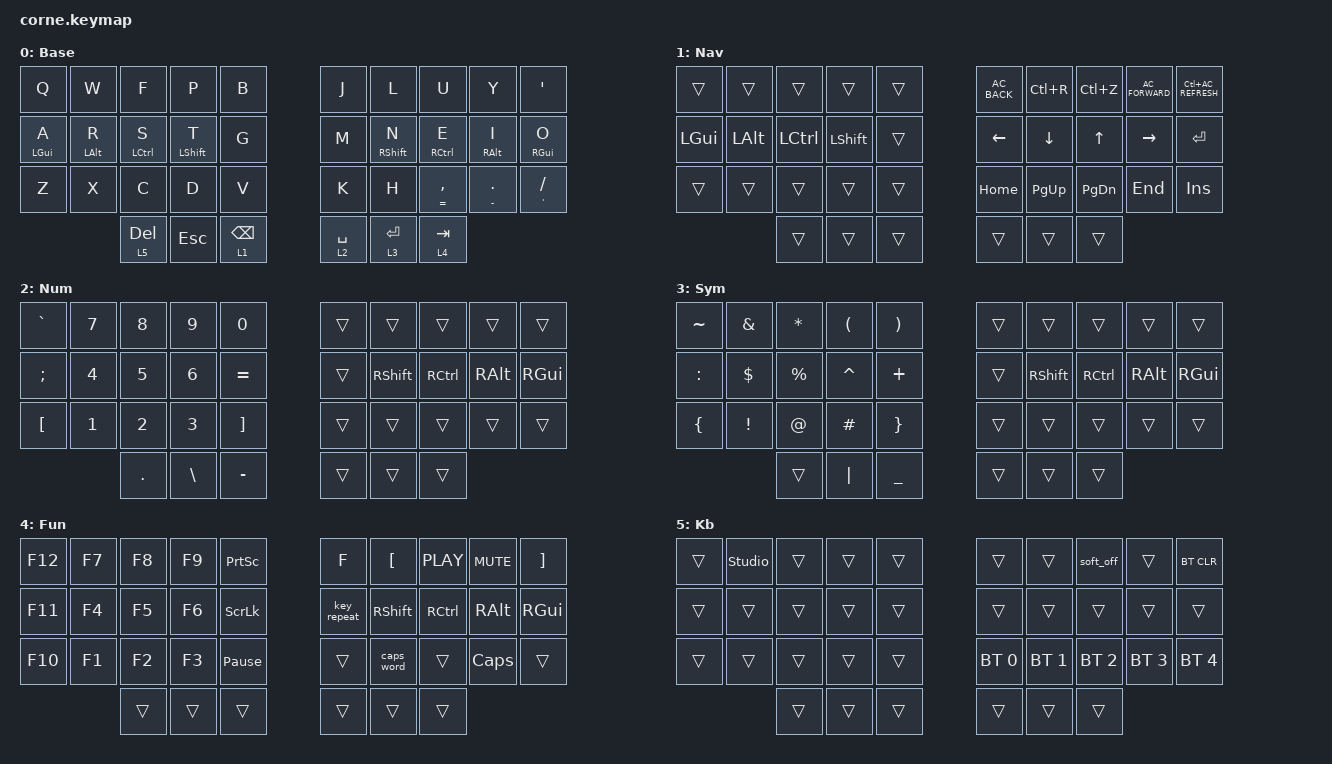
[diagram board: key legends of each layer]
/*
 * Copyright (c) 2020 The ZMK Contributors
 *
 * SPDX-License-Identifier: MIT
 */

#include <behaviors.dtsi>
#include <dt-bindings/zmk/bt.h>
#include <dt-bindings/zmk/keys.h>

//#define AS(keycode) &as LS(keycode) keycode     // Autoshift Macro

/ {
    //chosen { zmk,matrix-transform = &five_column_transform; };

    chosen { zmk,physical-layout = &foostan_corne_5col_layout; };

    behaviors {
        hml: home_row_mod_left {
            compatible = "zmk,behavior-hold-tap";
            #binding-cells = <2>;
            flavor = "tap-preferred";
            require-prior-idle-ms = <40>;
            tapping-term-ms = <180>;
            quick-tap-ms = <100>;
            bindings = <&kp>, <&kp>;

            hold-trigger-key-positions = <5 15 25 33 34 35 26 16 6 7 17 27 28 18 8 9 19 29 32 31>; // List of keys on the right side of the keyboard
            hold-trigger-on-release;
        };

        hmr: home_row_mod_right {
            compatible = "zmk,behavior-hold-tap";
            #binding-cells = <2>;
            flavor = "tap-preferred";
            require-prior-idle-ms = <40>;
            tapping-term-ms = <180>;
            quick-tap-ms = <100>;
            bindings = <&kp>, <&kp>;

            hold-trigger-key-positions = <1 0 10 11 20 21 22 30 32 31 24 23 13 12 2 3 4 14>; // List of keys on the left side of the keyboard
            hold-trigger-on-release;
        };

        hmlf: home_row_mod_left_fast {
            compatible = "zmk,behavior-hold-tap";
            #binding-cells = <2>;
            flavor = "tap-preferred";
            require-prior-idle-ms = <40>;
            tapping-term-ms = <150>;
            quick-tap-ms = <100>;
            bindings = <&kp>, <&kp>;

            hold-trigger-key-positions = <5 15 25 33 34 35 26 16 6 7 17 27 28 18 8 9 19 29 32 31>; // List of keys on the right side of the keyboard
            hold-trigger-on-release;
        };

        hmrf: home_row_mod_right_fast {
            compatible = "zmk,behavior-hold-tap";
            #binding-cells = <2>;
            flavor = "tap-preferred";
            require-prior-idle-ms = <40>;
            tapping-term-ms = <150>;
            quick-tap-ms = <100>;
            bindings = <&kp>, <&kp>;

            hold-trigger-key-positions = <1 0 10 11 20 21 22 30 32 31 24 23 13 12 2 3 4 14>; // List of keys on the left side of the keyboard
            hold-trigger-on-release;
        };

        as: auto_shift {
            compatible = "zmk,behavior-hold-tap";
            #binding-cells = <2>;
            quick_tap_ms = <0>;
            flavor = "tap-preferred";
            bindings = <&kp>, <&kp>;

            tapping-term-ms = <150>;
        };

        lt_slow: lt_slow {
            compatible = "zmk,behavior-hold-tap";
            label = "LT_SLOW";
            bindings = <&mo>, <&kp>;

            #binding-cells = <2>;
            tapping-term-ms = <335>;
            flavor = "tap-preferred";
        };

        mt_slow: mt_slow {
            compatible = "zmk,behavior-hold-tap";
            label = "MT_SLOW";
            bindings = <&kp>, <&kp>;

            #binding-cells = <2>;
            tapping-term-ms = <440>;
            flavor = "tap-preferred";
        };

        hml_lctl: hml_lctl {
            compatible = "zmk,behavior-hold-tap";
            #binding-cells = <2>;
            flavor = "balanced";
            require-prior-idle-ms = <40>;
            tapping-term-ms = <180>;
            quick-tap-ms = <100>;
            bindings = <&kp>, <&kp>;

            hold-trigger-key-positions = <5 15 25 33 34 35 26 16 6 7 17 27 28 18 8 9 19 29 23 1 3 21 32 31>;
            hold-trigger-on-release;
            label = "HML_LCTL";
        };
    };

    combos { compatible = "zmk,combos"; };

    keymap {
        compatible = "zmk,keymap";

        Base {
            bindings = <
  &kp Q            &kp W            &kp F              &kp P               &kp B             &kp J        &kp L            &kp U                 &kp Y               &kp SQT
  &hml LEFT_GUI A  &hml LEFT_ALT R  &hml_lctl LCTRL S  &hmlf LEFT_SHIFT T  &kp G             &kp M        &hmrf RSHIFT N   &hmr RCTRL E          &hmr RIGHT_ALT I    &hmr RIGHT_GUI O
  &kp Z            &kp X            &kp C              &kp D               &kp V             &kp K        &kp H            &mt_slow EQUAL COMMA  &mt_slow MINUS DOT  &mt_slow SINGLE_QUOTE FSLH
                                    &lt_slow 5 DEL     &kp ESCAPE    &lt_slow 1 BACKSPACE    &lt 2 SPACE  &lt 3 ENTER      &lt_slow 4 TAB
            >;
        };

        Nav {
            bindings = <
  &trans    &trans    &trans     &trans     &trans    &kp C_AC_BACK  &kp LC(R)  &kp LC(Z)  &kp C_AC_FORWARD  &kp LC(C_AC_REFRESH)
  &kp LGUI  &kp LALT  &kp LCTRL  &kp LSHFT  &trans    &kp LEFT       &kp DOWN   &kp UP     &kp RIGHT         &kp RET
  &trans    &trans    &trans     &trans     &trans    &kp HOME       &kp PG_UP  &kp PG_DN  &kp END           &kp INS
                      &trans     &trans     &trans    &trans         &trans     &trans
            >;
        };

        Num {
            bindings = <
  &kp GRAVE  &kp N7  &kp N8   &kp N9    &kp N0       &trans  &trans     &trans     &trans    &trans
  &kp SEMI   &kp N4  &kp N5   &kp N6    &kp EQUAL    &trans  &kp RSHFT  &kp RCTRL  &kp RALT  &kp RGUI
  &kp LBKT   &kp N1  &kp N2   &kp N3    &kp RBKT     &trans  &trans     &trans     &trans    &trans
                     &kp DOT  &kp BSLH  &kp MINUS    &trans  &trans     &trans
            >;
        };

        Sym {
            bindings = <
  &kp TILDE  &kp AMPS  &kp STAR   &kp LPAR   &kp RPAR          &trans  &trans     &trans     &trans    &trans
  &kp COLON  &kp DLLR  &kp PRCNT  &kp CARET  &kp PLUS          &trans  &kp RSHFT  &kp RCTRL  &kp RALT  &kp RGUI
  &kp LBRC   &kp EXCL  &kp AT     &kp POUND  &kp RBRC          &trans  &trans     &trans     &trans    &trans
                       &trans     &kp PIPE   &kp UNDERSCORE    &trans  &trans     &trans
            >;
        };

        Fun {
            bindings = <
  &kp F12  &kp F7  &kp F8  &kp F9  &kp PRINTSCREEN    &kp F        &kp LEFT_BRACKET  &kp C_PLAY  &kp C_MUTE    &kp RIGHT_BRACKET
  &kp F11  &kp F4  &kp F5  &kp F6  &kp SCROLLLOCK     &key_repeat  &kp RSHFT         &kp RCTRL   &kp RALT      &kp RGUI
  &kp F10  &kp F1  &kp F2  &kp F3  &kp PAUSE_BREAK    &trans       &caps_word        &trans      &kp CAPSLOCK  &trans
                   &trans  &trans  &trans             &trans       &trans            &trans
            >;
        };

        Kb {
            bindings = <
  &trans  &studio_unlock  &trans  &trans  &trans    &trans        &trans        &soft_off     &trans        &bt BT_CLR
  &trans  &trans          &trans  &trans  &trans    &trans        &trans        &trans        &trans        &trans
  &trans  &trans          &trans  &trans  &trans    &bt BT_SEL 0  &bt BT_SEL 1  &bt BT_SEL 2  &bt BT_SEL 3  &bt BT_SEL 4
                          &trans  &trans  &trans    &trans        &trans        &trans
            >;
        };
    };
};

